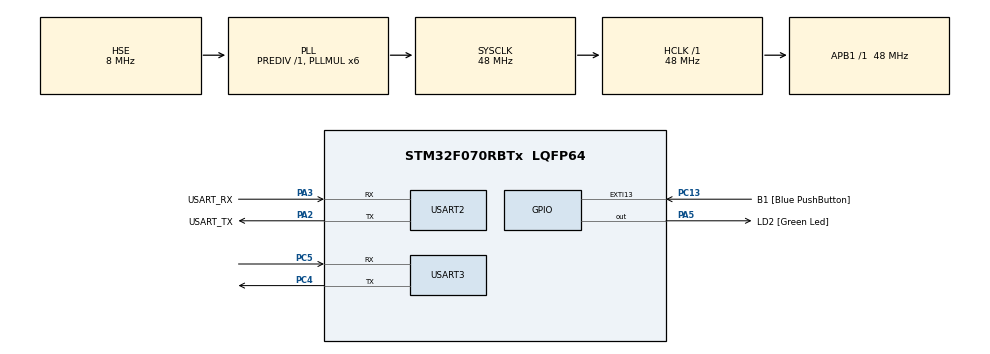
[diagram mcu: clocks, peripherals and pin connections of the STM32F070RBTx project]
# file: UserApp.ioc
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Mcu.Family=STM32F0
Mcu.Name=STM32F070RBTx
Mcu.Package=LQFP64
PA13.GPIO_Label=TMS
PA13.Mode=Serial_Wire
PA13.Signal=SYS_SWDIO
PA14.GPIO_Label=TCK
PA14.Mode=Serial_Wire
PA14.Signal=SYS_SWCLK
PA2.GPIO_Label=USART_TX
PA2.Mode=Asynchronous
PA2.Signal=USART2_TX
PA3.GPIO_Label=USART_RX
PA3.Mode=Asynchronous
PA3.Signal=USART2_RX
PA5.GPIO_Label=LD2 [Green Led]
PA5.Signal=GPIO_Output
PC13.GPIO_Label=B1 [Blue PushButton]
PC13.GPIO_ModeDefaultEXTI=GPIO_MODE_IT_FALLING
PC13.Signal=GPXTI13
PC14-OSC32_IN.GPIO_Label=RCC_OSC32_IN
PC14-OSC32_IN.Mode=LSE-External-Oscillator
PC14-OSC32_IN.Signal=RCC_OSC32_IN
PC15-OSC32_OUT.GPIO_Label=RCC_OSC32_OUT
PC15-OSC32_OUT.Mode=LSE-External-Oscillator
PC15-OSC32_OUT.Signal=RCC_OSC32_OUT
PC4.Mode=Asynchronous
PC4.Signal=USART3_TX
PC5.Mode=Asynchronous
PC5.Signal=USART3_RX
PF0-OSC_IN.GPIO_Label=RCC_OSC_IN
PF0-OSC_IN.Mode=HSE-External-Clock-Source
PF0-OSC_IN.Signal=RCC_OSC_IN
PF1-OSC_OUT.GPIO_Label=RCC_OSC_OUT
PF1-OSC_OUT.Signal=RCC_OSC_OUT
ProjectManager.HeapSize=0x200
ProjectManager.StackSize=0x400
ProjectManager.TargetToolchain=STM32CubeIDE
RCC.AHBFreq_Value=48000000
RCC.APB1Freq_Value=48000000
RCC.APB1TimFreq_Value=48000000
RCC.HCLKFreq_Value=48000000
RCC.PLLMUL=RCC_PLL_MUL6
RCC.PLLSourceVirtual=RCC_PLLSOURCE_HSE
RCC.SYSCLKFreq_VALUE=48000000
RCC.SYSCLKSource=RCC_SYSCLKSOURCE_PLLCLK
USART2.VirtualMode-Asynchronous=VM_ASYNC
USART3.VirtualMode-Asynchronous=VM_ASYNC
board=NUCLEO-F070RB

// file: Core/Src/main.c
/* USER CODE BEGIN Header */
/**
  ******************************************************************************
  * @file           : main.c
  * @brief          : Main program body
  ******************************************************************************
  * @attention
  *
  * Copyright (c) 2022 STMicroelectronics.
  * All rights reserved.
  *
  * This software is licensed under terms that can be found in the LICENSE file
  * in the root directory of this software component.
  * If no LICENSE file comes with this software, it is provided AS-IS.
  *
  ******************************************************************************
  */
/* USER CODE END Header */
#include "main.h"

/* USER CODE BEGIN Includes */
#include "spy.h"
/* USER CODE END Includes */

/* USER CODE BEGIN PD */
#define VECTOR_TABLE_SIZE (31 + 1 + 7 +9)//31 positive vectors, 0 vector, and 7 negative vectors (and extra 9 i dont know why)
#define SYSCFG_CFGR1_MEM_MODE__MAIN_FLASH      0  // x0: Main Flash memory mapped at 0x0000 0000
#define SYSCFG_CFGR1_MEM_MODE__SYSTEM_FLASH    1  // 01: System Flash memory mapped at 0x0000 0000
#define SYSCFG_CFGR1_MEM_MODE__SRAM            3  // 11: Embedded SRAM mapped at 0x0000 0000
/* USER CODE END PD */

UART_HandleTypeDef huart2;
UART_HandleTypeDef huart3;

/* USER CODE BEGIN PV */
volatile uint32_t __attribute__((section(".ram_vector,\"aw\",%nobits @"))) ram_vector[VECTOR_TABLE_SIZE];
extern volatile uint32_t g_pfnVectors[VECTOR_TABLE_SIZE];
/* USER CODE END PV */

void SystemClock_Config(void);
static void MX_GPIO_Init(void);
static void MX_USART2_UART_Init(void);
static void MX_USART3_UART_Init(void);

/* USER CODE BEGIN 0 */
int __io_putchar(int ch){
	HAL_UART_Transmit(&huart3, (uint8_t*)&ch, 1, 100);
}
/* USER CODE END 0 */

int main(void)
{
  /* USER CODE BEGIN 1 */
    RCC->APB2ENR |= RCC_APB2ENR_SYSCFGEN;  // early enable to ensure clock is up and running when it comes to usage
    for (uint32_t i = 0; i < VECTOR_TABLE_SIZE; i++)
    {//copy vector table
      ram_vector[i] = g_pfnVectors[i];
    }
    SYSCFG->CFGR1 = (SYSCFG->CFGR1 & ~SYSCFG_CFGR1_MEM_MODE) | (SYSCFG_CFGR1_MEM_MODE__SRAM * SYSCFG_CFGR1_MEM_MODE_0);  // remap 0x0000000 to RAM
	__enable_irq();
  /* USER CODE END 1 */

  /* MCU Configuration--------------------------------------------------------*/

  /* Reset of all peripherals, Initializes the Flash interface and the Systick. */
  HAL_Init();

  /* Configure the system clock */
  SystemClock_Config();

  /* Initialize all configured peripherals */
  MX_GPIO_Init();
  MX_USART2_UART_Init();
  MX_USART3_UART_Init();

  /* Infinite loop */
  /* USER CODE BEGIN WHILE */
  while (1)
  {
	  HAL_GPIO_WritePin(LD2_GPIO_Port, LD2_Pin, GPIO_PIN_SET);
	  HAL_Delay(500);
	  HAL_GPIO_WritePin(LD2_GPIO_Port, LD2_Pin, GPIO_PIN_RESET);
	  HAL_Delay(500);
    /* USER CODE END WHILE */

  }
}

void SystemClock_Config(void)
{
  RCC_OscInitTypeDef RCC_OscInitStruct = {0};
  RCC_ClkInitTypeDef RCC_ClkInitStruct = {0};

  /** Initializes the RCC Oscillators according to the specified parameters
  * in the RCC_OscInitTypeDef structure.
  */
  RCC_OscInitStruct.OscillatorType = RCC_OSCILLATORTYPE_HSE;
  RCC_OscInitStruct.HSEState = RCC_HSE_BYPASS;
  RCC_OscInitStruct.PLL.PLLState = RCC_PLL_ON;
  RCC_OscInitStruct.PLL.PLLSource = RCC_PLLSOURCE_HSE;
  RCC_OscInitStruct.PLL.PLLMUL = RCC_PLL_MUL6;
  RCC_OscInitStruct.PLL.PREDIV = RCC_PREDIV_DIV1;
  if (HAL_RCC_OscConfig(&RCC_OscInitStruct) != HAL_OK)
  {
    Error_Handler();
  }

  /** Initializes the CPU, AHB and APB buses clocks
  */
  RCC_ClkInitStruct.ClockType = RCC_CLOCKTYPE_HCLK|RCC_CLOCKTYPE_SYSCLK
                              |RCC_CLOCKTYPE_PCLK1;
  RCC_ClkInitStruct.SYSCLKSource = RCC_SYSCLKSOURCE_PLLCLK;
  RCC_ClkInitStruct.AHBCLKDivider = RCC_SYSCLK_DIV1;
  RCC_ClkInitStruct.APB1CLKDivider = RCC_HCLK_DIV1;

  if (HAL_RCC_ClockConfig(&RCC_ClkInitStruct, FLASH_LATENCY_1) != HAL_OK)
  {
    Error_Handler();
  }
}

static void MX_USART2_UART_Init(void)
{

  huart2.Instance = USART2;
  huart2.Init.BaudRate = 38400;
  huart2.Init.WordLength = UART_WORDLENGTH_8B;
  huart2.Init.StopBits = UART_STOPBITS_1;
  huart2.Init.Parity = UART_PARITY_NONE;
  huart2.Init.Mode = UART_MODE_TX_RX;
  huart2.Init.HwFlowCtl = UART_HWCONTROL_NONE;
  huart2.Init.OverSampling = UART_OVERSAMPLING_16;
  huart2.Init.OneBitSampling = UART_ONE_BIT_SAMPLE_DISABLE;
  huart2.AdvancedInit.AdvFeatureInit = UART_ADVFEATURE_NO_INIT;
  if (HAL_UART_Init(&huart2) != HAL_OK)
  {
    Error_Handler();
  }

}

static void MX_USART3_UART_Init(void)
{

  huart3.Instance = USART3;
  huart3.Init.BaudRate = 38400;
  huart3.Init.WordLength = UART_WORDLENGTH_8B;
  huart3.Init.StopBits = UART_STOPBITS_1;
  huart3.Init.Parity = UART_PARITY_NONE;
  huart3.Init.Mode = UART_MODE_TX_RX;
  huart3.Init.HwFlowCtl = UART_HWCONTROL_NONE;
  huart3.Init.OverSampling = UART_OVERSAMPLING_16;
  huart3.Init.OneBitSampling = UART_ONE_BIT_SAMPLE_DISABLE;
  huart3.AdvancedInit.AdvFeatureInit = UART_ADVFEATURE_NO_INIT;
  if (HAL_UART_Init(&huart3) != HAL_OK)
  {
    Error_Handler();
  }

}

static void MX_GPIO_Init(void)
{
  GPIO_InitTypeDef GPIO_InitStruct = {0};

  /* GPIO Ports Clock Enable */
  __HAL_RCC_GPIOC_CLK_ENABLE();
  __HAL_RCC_GPIOF_CLK_ENABLE();
  __HAL_RCC_GPIOA_CLK_ENABLE();

  /*Configure GPIO pin Output Level */
  HAL_GPIO_WritePin(LD2_GPIO_Port, LD2_Pin, GPIO_PIN_RESET);

  /*Configure GPIO pin : B1_Pin */
  GPIO_InitStruct.Pin = B1_Pin;
  GPIO_InitStruct.Mode = GPIO_MODE_IT_FALLING;
  GPIO_InitStruct.Pull = GPIO_NOPULL;
  HAL_GPIO_Init(B1_GPIO_Port, &GPIO_InitStruct);

  /*Configure GPIO pin : LD2_Pin */
  GPIO_InitStruct.Pin = LD2_Pin;
  GPIO_InitStruct.Mode = GPIO_MODE_OUTPUT_PP;
  GPIO_InitStruct.Pull = GPIO_NOPULL;
  GPIO_InitStruct.Speed = GPIO_SPEED_FREQ_LOW;
  HAL_GPIO_Init(LD2_GPIO_Port, &GPIO_InitStruct);

}

void Error_Handler(void)
{
  __disable_irq();
  while (1)
  {
  }
}
